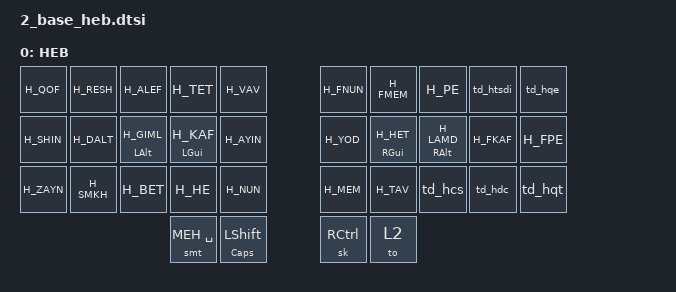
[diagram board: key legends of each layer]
/*
 * Hebrew Base Layer
*/

/ {
  keymap {
    compatible = "zmk,keymap";

    base_heb {
      label = "HEB";
      bindings = <
    &kp H_QOF       &kp H_RESH      &kp H_ALEF      &kp H_TET       &kp H_VAV          &kp H_FNUN      &kp H_FMEM      &kp H_PE        &td_htsdi       &td_hqe
    &kp H_SHIN      &kp H_DALT      &hm LALT H_GIML &hm LGUI H_KAF  &kp H_AYIN         &kp H_YOD       &hm RGUI H_HET  &hm RALT H_LAMD &kp H_FKAF      &kp H_FPE
    &kp H_ZAYN      &kp H_SMKH      &kp H_BET       &kp H_HE        &kp H_NUN          &kp H_MEM       &kp H_TAV       &td_hcs         &td_hdc         &td_hqt
                                    &smt MEH SPACE          &mt CAPS LSHIFT            &sk RCTRL               &to 2
      >;
    };
  };
};

/*
*╭───────────────┬───────────────┬───────────────┬───────────────┬───────────────╮  ╭───────────────┬───────────────┬───────────────┬───────────────┬───────────────╮
* 0               1               2               3               4                  5               6               7               8               9
* t: ק            t: ר            t: א            t: ט            t: ו               t: ן            t: ם            t: פ            t: צ            t: ?
* h:              h:              h:              h:              h:                 h:              h:              h:              h: ץ            h: !
* s:              s:              s:              s:              s:                 s:              s:              s:              s:              s:
*├───────────────┼───────────────┼───────────────┼───────────────┼───────────────┤  ├───────────────┼───────────────┼───────────────┼───────────────┼───────────────┤
* 10              11              12              13              14                 15              16              17              18              19
* t: ש            t: ד            t: ג            t: כ            t: ע               t: י            t: ח            t: ל            t: ך            t: ף
* h:              h:              h: LALT         h: LGUI         h:                 h:              h: RGUI         h: RALT         h:              h:
* s:              s:              s:              s:              s:                 s:              s:              s:              s:              s:
*├───────────────├───────────────┼───────────────┼───────────────┼───────────────┤  ├───────────────┼───────────────┼───────────────┼───────────────┼───────────────┤
* 20              21              22              23              24                 25              26              27              28              29
* t: ז            t: ס            t: ב            t: ה            t: נ               t: מ            t: ת            t: ,            t: .            t: '
* h:              h:              h:              h:              h:                 h:              h:              h: ;            h: :            h: "
* s:              s:              s:              s:              s:                 s:              s:              s:              s:              s:
*╰───────────────┴───────────────┼───────────────┴───────┬───────┴───────────────┤  ├───────────────┴───────┬───────┴───────────────┼───────────────┴───────────────┤
*                                 30                      31                         32                      33
*                                 t: SPACE                t: LSHIFT                  t: RCTRL                t: SYMBOL
*                                 h: MEH                  h: CAPS                    h:                      h:
*                                 s:                      s:                         s:                      s:
*                                ╰───────────────────────┴───────────────────────╯  ╰───────────────────────┴───────────────────────╯
*/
